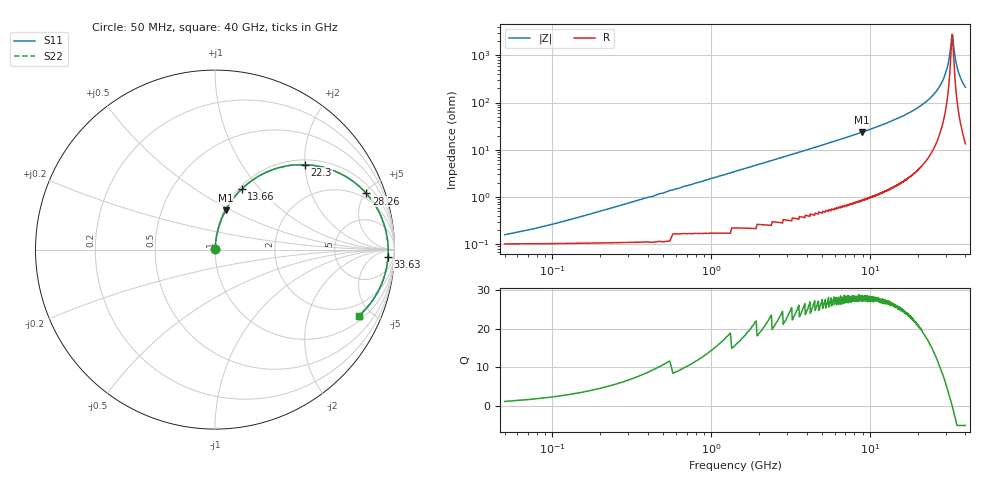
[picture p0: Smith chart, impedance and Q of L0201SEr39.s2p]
# MHZ S MA R 50
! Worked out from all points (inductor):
!   1601 points, 50 MHz to 40 GHz, reference 50 ohm
!   read as one part in series: L = 390 pH near 249.8 MHz
!   highest Q = 28.2 at 8.889 GHz (marker M1), where L = 420 pH
!   self-resonance near 33.04 GHz
!   S11 on the Smith chart (normalised r, x): 50 MHz: 1.00, +0.00; 13.66 GHz: 1.03, +0.81; 22.3 GHz: 1.11, +2.00; 28.26 GHz: 1.56, +5.10; 33.63 GHz: 23, -28; 40 GHz: 1.26, -4.20
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50  0.001603 49.7  0.999 -0.1  0.999 -0.1  0.001603 49.7
349.625  0.008648 81.2  0.999 -0.5  0.999 -0.5  0.008648 81.2
574.344  0.014 83.5  0.998 -0.8  0.998 -0.8  0.014 83.5
973.844  0.024 84.6  0.998 -1.4  0.998 -1.4  0.024 84.6
1548.125  0.038 84.6  0.997 -2.2  0.997 -2.2  0.038 84.6
3520.656  0.087 82.7  0.993 -5.0  0.993 -5.0  0.087 82.7
6716.656  0.168 78.2  0.98 -9.7  0.98 -9.7  0.168 78.2
8888.938  0.227 74.8  0.966 -13.1  0.966 -13.1  0.227 74.8
13383.31  0.361 66.7  0.919 -21.1  0.919 -21.1  0.361 66.7
13657.97  0.37 66.2  0.915 -21.7  0.915 -21.7  0.37 66.2
20025  0.599 50.5  0.773 -36.8  0.773 -36.8  0.599 50.5
22297.16  0.689 43.4  0.688 -43.5  0.688 -43.5  0.689 43.4
26691.66  0.853 26.9  0.454 -58.2  0.454 -58.2  0.853 26.9
28264.69  0.899 20.4  0.35 -63.4  0.35 -63.4  0.899 20.4
30711.62  0.948 9.9  0.175 -67.9  0.175 -67.9  0.948 9.9
31810.25  0.96 5.2  0.097 -62.9  0.097 -62.9  0.96 5.2
32883.91  0.965 0.7  0.037 -17.4  0.037 -17.4  0.965 0.7
33358.31  0.965 -1.3  0.041 31.8  0.041 31.8  0.965 -1.3
33632.97  0.965 -2.4  0.054 48.3  0.054 48.3  0.965 -2.4
34556.81  0.961 -6.1  0.111 66.5  0.111 66.5  0.961 -6.1
35855.19  0.95 -11.0  0.194 69.5  0.194 69.5  0.95 -11.0
40000  0.882 -24.7  0.419 61.6  0.419 61.6  0.882 -24.7
